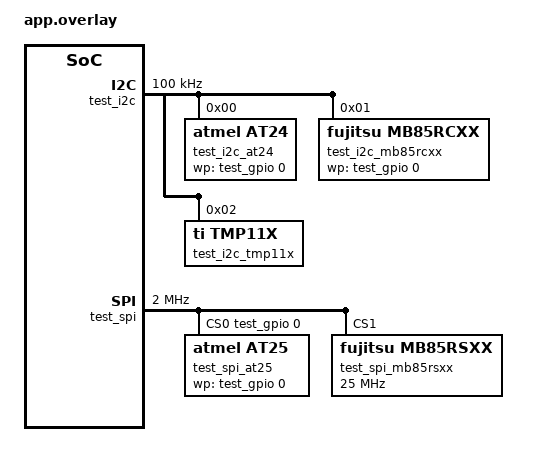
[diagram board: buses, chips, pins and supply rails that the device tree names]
/*
 * Copyright (c) 2020, Linaro Ltd.
 *
 * SPDX-License-Identifier: Apache-2.0
 *
 * Application overlay for testing driver builds
 *
 * Names in this file should be chosen in a way that won't conflict
 * with real-world devicetree nodes, to allow these tests to run on
 * (and be extended to test) real hardware.
 */

#include <freq.h>
#include <mem.h>

/ {
	test {
		#address-cells = <1>;
		#size-cells = <1>;

		test_gpio: gpio@deadbeef {
			compatible = "vnd,gpio";
			gpio-controller;
			reg = <0xdeadbeef 0x1000>;
			#gpio-cells = <0x2>;
			status = "okay";
		};

		test_i2c: i2c@11112222 {
			#address-cells = <1>;
			#size-cells = <0>;
			compatible = "vnd,i2c";
			reg = <0x11112222 0x1000>;
			status = "okay";
			clock-frequency = <100000>;

			test_i2c_at24: at24@0 {
				compatible = "atmel,at24";
				reg = <0x0>;
				size = <32768>;
				pagesize = <64>;
				address-width = <16>;
				timeout = <5>;
				wp-gpios = <&test_gpio 0 0>;
				/* read-only; */
			};

			test_i2c_mb85rcxx: mb85rcxx@1 {
				compatible = "fujitsu,mb85rcxx";
				reg = <0x1>;
				size = <131072>;
				pagesize = <131072>;
				address-width = <16>;
				wp-gpios = <&test_gpio 0 0>;
				/* read-only; */
			};

			test_i2c_tmp11x: tmp11x@2 {
				status = "okay";
				compatible = "ti,tmp11x";
				reg = <0x2>;
				#address-cells = <1>;
				#size-cells = <0>;

				test_tmp11x_eeprom: ti_tmp11x_eeprom@0 {
					compatible = "ti,tmp11x-eeprom";
					reg = <0x0>;
					read-only;
				};
			};
		};

		test_spi: spi@33334444 {
			#address-cells = <1>;
			#size-cells = <0>;
			compatible = "vnd,spi";
			reg = <0x33334444 0x1000>;
			status = "okay";
			clock-frequency = <2000000>;

			/* one entry for every devices at spi.dtsi */
			cs-gpios = <&test_gpio 0 0>;

			test_spi_at25: at25@0 {
				compatible = "atmel,at25";
				reg = <0x0>;
				spi-max-frequency = <0>;
				size = <32768>;
				pagesize = <64>;
				address-width = <16>;
				timeout = <5>;
				wp-gpios = <&test_gpio 0 0>;
				/* read-only; */
			};

			test_spi_mb85rsxx: mb85rsxx@1 {
				compatible = "fujitsu,mb85rsxx";
				reg = <0x1>;
				spi-max-frequency = <DT_FREQ_M(25)>;
				size = <DT_SIZE_K(128)>;
			};
		};
	};
};
